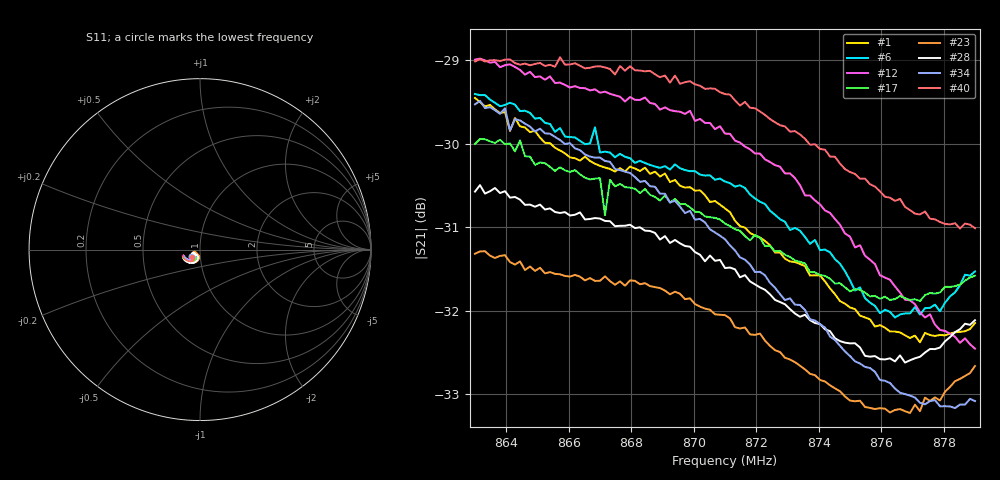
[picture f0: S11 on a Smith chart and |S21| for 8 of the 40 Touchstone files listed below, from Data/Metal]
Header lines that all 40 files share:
# HZ S RI R 50
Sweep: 863 MHz to 879 MHz
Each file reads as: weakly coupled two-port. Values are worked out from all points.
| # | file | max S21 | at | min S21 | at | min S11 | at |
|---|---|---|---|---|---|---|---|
| 1 | mo10s9.s2p | -29.45 dB | 863 MHz | -32.4 dB | 877.24 MHz | -25.2 dB | 867.8 MHz |
| 2 | mo11s1.s2p | -29.05 dB | 863.32 MHz | -31.5 dB | 879 MHz | -23.9 dB | 865.4 MHz |
| 3 | mo11s3.s2p | -28.77 dB | 863 MHz | -31.6 dB | 878.68 MHz | -23.8 dB | 866.04 MHz |
| 4 | mo11s4.s2p | -29.49 dB | 863 MHz | -31.6 dB | 878.68 MHz | -24.5 dB | 866.04 MHz |
| 5 | mo11s6.s2p | -28.64 dB | 863.64 MHz | -31.6 dB | 879 MHz | -24.0 dB | 864.92 MHz |
| 6 | mo11s7.s2p | -29.41 dB | 863 MHz | -32.1 dB | 876.44 MHz | -26.4 dB | 866.84 MHz |
| 7 | mo11s8.s2p | -29.00 dB | 863.64 MHz | -31.9 dB | 877.88 MHz | -25.3 dB | 865.88 MHz |
| 8 | mo11s9.s2p | -28.48 dB | 863.48 MHz | -31.5 dB | 879 MHz | -23.5 dB | 867 MHz |
| 9 | mo12s1.s2p | -29.05 dB | 867.64 MHz | -31.3 dB | 879 MHz | -24.4 dB | 865.56 MHz |
| 10 | mo12s2.s2p | -29.09 dB | 863 MHz | -32.5 dB | 879 MHz | -24.8 dB | 867.48 MHz |
| 11 | mo12s4.s2p | -29.13 dB | 863.32 MHz | -31.7 dB | 878.52 MHz | -24.9 dB | 864.6 MHz |
| 12 | mo12s5.s2p | -28.98 dB | 863.16 MHz | -32.5 dB | 879 MHz | -24.4 dB | 866.04 MHz |
| 13 | mo12s7.s2p | -29.06 dB | 863.32 MHz | -32.6 dB | 879 MHz | -24.3 dB | 865.56 MHz |
| 14 | mo13s0.s2p | -32.64 dB | 863 MHz | -35.6 dB | 875 MHz | -35.1 dB | 867 MHz |
| 15 | mo13s1.s2p | -30.92 dB | 863 MHz | -32.9 dB | 875.48 MHz | -29.5 dB | 865.56 MHz |
| 16 | mo13s5.s2p | -29.10 dB | 866.2 MHz | -31.9 dB | 877.88 MHz | -24.7 dB | 866.2 MHz |
| 17 | mo13s6.s2p | -29.94 dB | 863.16 MHz | -31.9 dB | 877.24 MHz | -26.3 dB | 864.44 MHz |
| 18 | mo13s7.s2p | -29.60 dB | 863 MHz | -32.4 dB | 877.72 MHz | -25.6 dB | 865.4 MHz |
| 19 | mo13s9.s2p | -29.42 dB | 863.48 MHz | -31.7 dB | 878.68 MHz | -25.7 dB | 866.04 MHz |
| 20 | mo13s10.s2p | -30.01 dB | 868.76 MHz | -30.9 dB | 876.76 MHz | -25.8 dB | 864.44 MHz |
| 21 | mo13s11.s2p | -29.00 dB | 863.32 MHz | -30.6 dB | 877.72 MHz | -25.9 dB | 864.6 MHz |
| 22 | mo14s0.s2p | -31.55 dB | 868.44 MHz | -33.2 dB | 876.6 MHz | -30.8 dB | 865.56 MHz |
| 23 | mo14s1.s2p | -31.29 dB | 863.32 MHz | -33.2 dB | 876.92 MHz | -31.2 dB | 865.56 MHz |
| 24 | mo14s2.s2p | -31.35 dB | 863.16 MHz | -33.6 dB | 876.44 MHz | -31.1 dB | 866.04 MHz |
| 25 | mo14s4.s2p | -31.86 dB | 863 MHz | -34.1 dB | 876.12 MHz | -33.3 dB | 866.36 MHz |
| 26 | mo14s5.s2p | -31.60 dB | 863.32 MHz | -33.9 dB | 876.28 MHz | -31.9 dB | 865.56 MHz |
| 27 | mo14s7.s2p | -30.65 dB | 863 MHz | -32.5 dB | 876.44 MHz | -27.7 dB | 865.24 MHz |
| 28 | mo14s8.s2p | -30.50 dB | 863.16 MHz | -32.6 dB | 876.76 MHz | -29.3 dB | 865.4 MHz |
| 29 | mo14s9.s2p | -30.79 dB | 863.16 MHz | -33.4 dB | 876.76 MHz | -28.0 dB | 865.72 MHz |
| 30 | mo14s10.s2p | -30.34 dB | 863 MHz | -32.6 dB | 875.48 MHz | -29.7 dB | 865.72 MHz |
| 31 | mo14s11.s2p | -30.86 dB | 863.64 MHz | -33.3 dB | 876.76 MHz | -27.2 dB | 865.24 MHz |
| 32 | mo15s3.s2p | -29.59 dB | 864.6 MHz | -32.1 dB | 877.72 MHz | -25.5 dB | 866.04 MHz |
| 33 | mo15s4.s2p | -29.34 dB | 863 MHz | -32.3 dB | 878.36 MHz | -25.3 dB | 866.04 MHz |
| 34 | mo15s7.s2p | -29.49 dB | 863.16 MHz | -33.2 dB | 878.36 MHz | -25.9 dB | 866.04 MHz |
| 35 | mo16s2.s2p | -29.05 dB | 866.04 MHz | -31.2 dB | 876.44 MHz | -26.3 dB | 865.24 MHz |
| 36 | mo16s5.s2p | -29.01 dB | 863.16 MHz | -32.5 dB | 878.2 MHz | -24.6 dB | 867.48 MHz |
| 37 | mo16s6.s2p | -29.61 dB | 863 MHz | -31.7 dB | 876.76 MHz | -26.0 dB | 866.2 MHz |
| 38 | mo16s7.s2p | -29.57 dB | 863.16 MHz | -31.9 dB | 877.72 MHz | -25.9 dB | 866.2 MHz |
| 39 | mo16s10.s2p | -29.01 dB | 863 MHz | -32.8 dB | 878.84 MHz | -24.3 dB | 867.8 MHz |
| 40 | mo17s0.s2p | -28.97 dB | 865.72 MHz | -31.0 dB | 878.52 MHz | -24.7 dB | 865.72 MHz |
